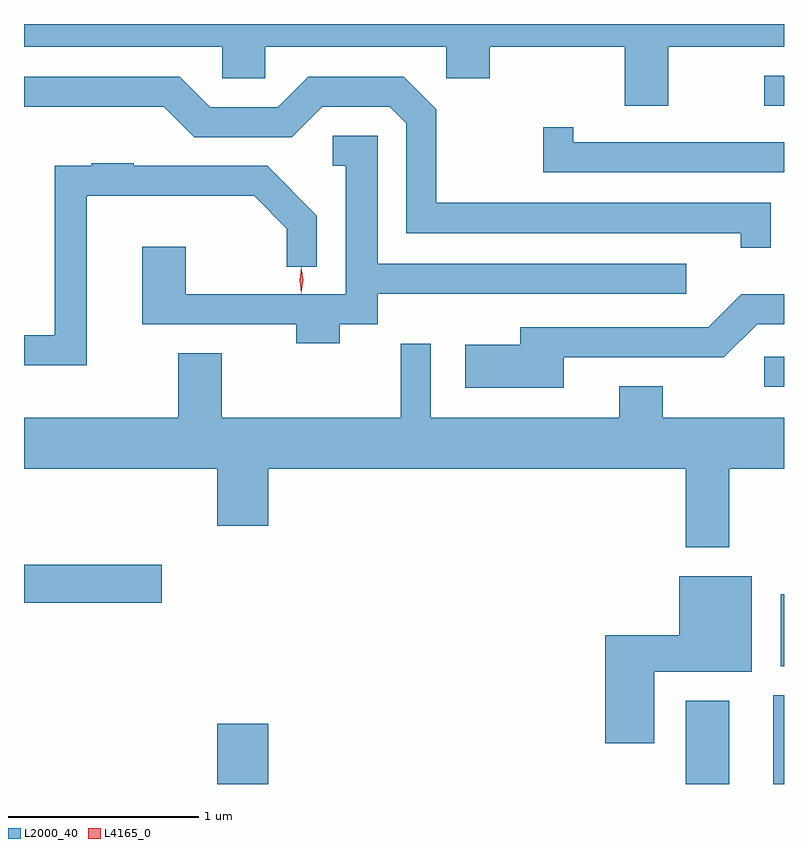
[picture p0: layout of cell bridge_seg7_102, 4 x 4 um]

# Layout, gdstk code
import gdstk
lib = gdstk.Library(unit=1e-6, precision=1e-09)
def R(c, l, rs):  # rectangles x0, y0, x1, y1
    for r in rs: c.add(gdstk.rectangle(r[:2], r[2:], *l))
def P(c, l, *ps):  # polygons
    for p in ps: c.add(gdstk.Polygon(p, *l))
L2000_40 = (2000, 40)
L4165_0 = (4165, 0)

bridge_seg7_102 = lib.new_cell('bridge_seg7_102')
R(bridge_seg7_102, L2000_40, [(1633.656,1750.396,1633.924,1750.714), (1636.121,1750.396,1636.349,1750.834), (1636.581,1750.396,1636.638,1750.864), (1636.621,1751.016,1636.638,1751.394), (1632.638,1751.351,1633.364,1751.549), (1636.533,1752.486,1636.638,1752.644), (1636.533,1753.966,1636.638,1754.124)])
P(bridge_seg7_102, L2000_40, [(1636.029,1754.276),(1636.638,1754.276),(1636.638,1754.396),(1632.638,1754.396),(1632.638,1754.276),(1633.681,1754.276),(1633.681,1754.111),(1633.909,1754.111),(1633.909,1754.276),(1634.861,1754.276),(1634.861,1754.111),(1635.089,1754.111),(1635.089,1754.276),(1635.801,1754.276),(1635.801,1753.966),(1636.029,1753.966)],
  [(1636.569,1753.454),(1634.809,1753.454),(1634.809,1753.947),(1634.637,1754.119),(1634.134,1754.119),(1633.974,1753.959),(1633.617,1753.959),(1633.457,1754.119),(1632.638,1754.119),(1632.638,1753.961),(1633.374,1753.961),(1633.534,1753.801),(1634.047,1753.801),(1634.207,1753.961),(1634.564,1753.961),(1634.651,1753.874),(1634.651,1753.296),(1636.411,1753.296),(1636.411,1753.218),(1636.569,1753.218)],
  [(1636.638,1753.774),(1635.529,1753.774),(1635.529,1753.853),(1635.371,1753.853),(1635.371,1753.616),(1636.638,1753.616)],
  [(1634.299,1752.816),(1634.499,1752.816),(1634.499,1752.976),(1636.123,1752.976),(1636.123,1753.134),(1634.499,1753.134),(1634.499,1753.809),(1634.263,1753.809),(1634.263,1753.651),(1634.331,1753.651),(1634.331,1752.974),(1633.489,1752.974),(1633.489,1753.224),(1633.261,1753.224),(1633.261,1752.816),(1634.071,1752.816),(1634.071,1752.716),(1634.299,1752.716)],
  [(1632.969,1753.491),(1633.849,1753.491),(1634.021,1753.319),(1634.021,1753.118),(1634.179,1753.118),(1634.179,1753.387),(1633.917,1753.649),(1633.215,1753.649),(1633.215,1753.664),(1632.995,1753.664),(1632.995,1753.649),(1632.801,1753.649),(1632.801,1752.759),(1632.638,1752.759),(1632.638,1752.601),(1632.969,1752.601)],
  [(1635.479,1752.641),(1636.322,1752.641),(1636.497,1752.816),(1636.638,1752.816),(1636.638,1752.974),(1636.414,1752.974),(1636.239,1752.799),(1635.251,1752.799),(1635.251,1752.709),(1634.961,1752.709),(1634.961,1752.481),(1635.479,1752.481)],
  [(1636.349,1752.056),(1636.638,1752.056),(1636.638,1752.324),(1635.999,1752.324),(1635.999,1752.489),(1635.771,1752.489),(1635.771,1752.324),(1634.779,1752.324),(1634.779,1752.713),(1634.621,1752.713),(1634.621,1752.324),(1633.679,1752.324),(1633.679,1752.664),(1633.451,1752.664),(1633.451,1752.324),(1632.638,1752.324),(1632.638,1752.056),(1633.656,1752.056),(1633.656,1751.756),(1633.924,1751.756),(1633.924,1752.056),(1636.121,1752.056),(1636.121,1751.641),(1636.349,1751.641)],
  [(1635.954,1750.986),(1636.469,1750.986),(1636.469,1751.489),(1636.086,1751.489),(1636.086,1751.179),(1635.696,1751.179),(1635.696,1750.611),(1635.954,1750.611)])
P(bridge_seg7_102, L4165_0, [(1634.098,1752.977),(1634.097,1752.978),(1634.088,1753.047),(1634.097,1753.116),(1634.098,1753.117),(1634.098,1753.116),(1634.108,1753.047),(1634.098,1752.978)])

lib.write_gds('bridge_seg7_102.gds')
